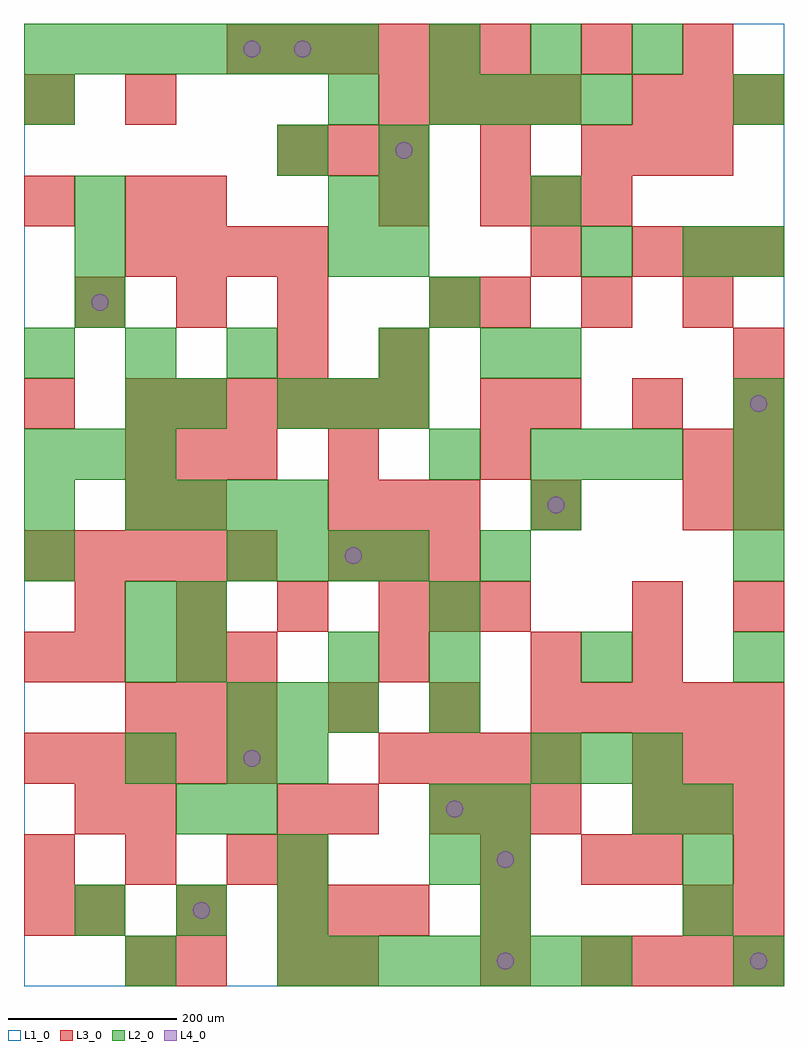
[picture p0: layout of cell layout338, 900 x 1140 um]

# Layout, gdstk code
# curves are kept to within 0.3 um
import gdstk
lib = gdstk.Library(unit=1e-6, precision=1e-09)
def R(c, l, rs):  # rectangles x0, y0, x1, y1
    for r in rs: c.add(gdstk.rectangle(r[:2], r[2:], *l))
def A(c, l, x, y, w, h, nx, ny, dx, dy):  # array of equal rectangles
    R(c, l, [(x+i*dx, y+j*dy, x+i*dx+w, y+j*dy+h) for i in range(nx) for j in range(ny)])
def P(c, l, *ps):  # polygons
    for p in ps: c.add(gdstk.Polygon(p, *l))
L1_0 = (1, 0)
L2_0 = (2, 0)
L3_0 = (3, 0)
L4_0 = (4, 0)

layout338 = lib.new_cell('layout338')
R(layout338, L1_0, [(0,0,900,1140)])
A(layout338, L2_0, 300, 0, 60, 60, 7, 1, 60, 0)
A(layout338, L2_0, 60, 60, 60, 60, 3, 1, 120, 0)
A(layout338, L2_0, 540, 60, 60, 60, 1, 3, 0, 60)
A(layout338, L2_0, 780, 60, 60, 60, 1, 3, 0, 60)
A(layout338, L2_0, 480, 180, 60, 60, 1, 3, 0, 120)
A(layout338, L2_0, 600, 240, 60, 60, 3, 2, 60, 360)
A(layout338, L2_0, 240, 300, 60, 60, 3, 1, 60, 0)
A(layout338, L2_0, 480, 360, 60, 60, 3, 1, 180, 0)
A(layout338, L2_0, 240, 480, 60, 60, 4, 1, 60, 0)
A(layout338, L2_0, 840, 480, 60, 60, 1, 4, 0, 60)
A(layout338, L2_0, 120, 540, 60, 60, 4, 1, 60, 0)
A(layout338, L2_0, 600, 540, 60, 60, 1, 3, 0, 180)
A(layout338, L2_0, 0, 600, 60, 60, 3, 1, 60, 0)
A(layout338, L2_0, 300, 660, 60, 60, 3, 1, 60, 0)
A(layout338, L2_0, 0, 720, 60, 60, 3, 1, 120, 0)
A(layout338, L2_0, 60, 780, 60, 60, 1, 3, 0, 60)
A(layout338, L2_0, 420, 840, 60, 60, 1, 3, 0, 60)
A(layout338, L2_0, 480, 1020, 60, 60, 4, 1, 60, 0)
A(layout338, L2_0, 0, 1080, 60, 60, 7, 1, 60, 0)
A(layout338, L2_0, 480, 1080, 60, 60, 3, 1, 120, 0)
R(layout338, L2_0, [(120,0,180,60), (840,0,900,60), (300,120,360,180), (480,120,540,180), (180,180,240,240), (240,180,300,240), (720,180,780,240), (120,240,180,300), (240,240,300,300), (300,240,360,300), (120,360,180,420), (180,360,240,420), (360,360,420,420), (120,420,180,480), (180,420,240,480), (0,480,60,540), (540,480,600,540), (0,540,60,600), (480,600,540,660), (120,660,180,720), (180,660,240,720), (420,720,480,780), (540,720,600,780), (480,780,540,840), (360,840,420,900), (660,840,720,900), (780,840,840,900), (840,840,900,900), (360,900,420,960), (300,960,360,1020), (0,1020,60,1080), (360,1020,420,1080), (840,1020,900,1080)])
A(layout338, L3_0, 540, 0, 60, 60, 1, 3, 0, 60)
A(layout338, L3_0, 660, 0, 60, 60, 4, 2, 60, 300)
A(layout338, L3_0, 0, 60, 60, 60, 1, 3, 0, 300)
A(layout338, L3_0, 60, 60, 60, 60, 3, 2, 120, 720)
A(layout338, L3_0, 0, 120, 60, 60, 3, 1, 120, 0)
A(layout338, L3_0, 120, 180, 60, 60, 1, 3, 0, 360)
A(layout338, L3_0, 480, 180, 60, 60, 3, 1, 60, 0)
A(layout338, L3_0, 720, 180, 60, 60, 3, 2, 60, 60)
A(layout338, L3_0, 0, 240, 60, 60, 5, 2, 60, 240)
A(layout338, L3_0, 420, 240, 60, 60, 4, 2, 60, 780)
A(layout338, L3_0, 120, 300, 60, 60, 3, 2, 60, 300)
A(layout338, L3_0, 360, 300, 60, 60, 3, 1, 120, 0)
A(layout338, L3_0, 240, 360, 60, 60, 3, 1, 180, 0)
A(layout338, L3_0, 60, 420, 60, 60, 4, 1, 120, 0)
A(layout338, L3_0, 360, 480, 60, 60, 3, 2, 60, 60)
A(layout338, L3_0, 120, 660, 60, 60, 6, 1, 60, 0)
A(layout338, L3_0, 600, 660, 60, 60, 3, 1, 120, 0)
A(layout338, L3_0, 540, 780, 60, 60, 3, 1, 120, 0)
A(layout338, L3_0, 120, 840, 60, 60, 4, 1, 60, 0)
A(layout338, L3_0, 720, 840, 60, 60, 3, 2, 60, 180)
A(layout338, L3_0, 540, 900, 60, 60, 3, 1, 60, 0)
A(layout338, L3_0, 300, 960, 60, 60, 3, 1, 60, 0)
A(layout338, L3_0, 660, 960, 60, 60, 3, 1, 60, 0)
A(layout338, L3_0, 240, 1080, 60, 60, 6, 1, 60, 0)
R(layout338, L3_0, [(120,0,180,60), (180,0,240,60), (300,0,360,60), (360,0,420,60), (360,60,420,120), (420,60,480,120), (780,60,840,120), (840,60,900,120), (300,120,360,180), (660,120,720,180), (720,120,780,180), (840,120,900,180), (60,180,120,240), (300,180,360,240), (360,180,420,240), (60,360,120,420), (180,360,240,420), (720,360,780,420), (480,420,540,480), (540,420,600,480), (720,420,780,480), (840,420,900,480), (180,540,240,600), (600,540,660,600), (780,540,840,600), (840,540,900,600), (360,600,420,660), (540,600,600,660), (780,600,840,660), (840,600,900,660), (540,660,600,720), (300,720,360,780), (420,720,480,780), (840,720,900,780), (480,780,540,840), (600,840,660,900), (0,900,60,960), (180,900,240,960), (420,900,480,960), (540,960,600,1020), (0,1020,60,1080), (120,1020,180,1080), (660,1080,720,1140), (780,1080,840,1140)])
P(layout338, L4_0, [(100,810),(99.239,813.827),(97.071,817.071),(93.827,819.239),(90,820),(86.173,819.239),(82.929,817.071),(80.761,813.827),(80,810),(80.761,806.173),(82.929,802.929),(86.173,800.761),(90,800),(93.827,800.761),(97.071,802.929),(99.239,806.173)],
  [(220,90),(219.239,93.827),(217.071,97.071),(213.827,99.239),(210,100),(206.173,99.239),(202.929,97.071),(200.761,93.827),(200,90),(200.761,86.173),(202.929,82.929),(206.173,80.761),(210,80),(213.827,80.761),(217.071,82.929),(219.239,86.173)],
  [(280,270),(279.239,273.827),(277.071,277.071),(273.827,279.239),(270,280),(266.173,279.239),(262.929,277.071),(260.761,273.827),(260,270),(260.761,266.173),(262.929,262.929),(266.173,260.761),(270,260),(273.827,260.761),(277.071,262.929),(279.239,266.173)],
  [(280,1110),(279.239,1113.827),(277.071,1117.071),(273.827,1119.239),(270,1120),(266.173,1119.239),(262.929,1117.071),(260.761,1113.827),(260,1110),(260.761,1106.173),(262.929,1102.929),(266.173,1100.761),(270,1100),(273.827,1100.761),(277.071,1102.929),(279.239,1106.173)],
  [(340,1110),(339.239,1113.827),(337.071,1117.071),(333.827,1119.239),(330,1120),(326.173,1119.239),(322.929,1117.071),(320.761,1113.827),(320,1110),(320.761,1106.173),(322.929,1102.929),(326.173,1100.761),(330,1100),(333.827,1100.761),(337.071,1102.929),(339.239,1106.173)],
  [(400,510),(399.239,513.827),(397.071,517.071),(393.827,519.239),(390,520),(386.173,519.239),(382.929,517.071),(380.761,513.827),(380,510),(380.761,506.173),(382.929,502.929),(386.173,500.761),(390,500),(393.827,500.761),(397.071,502.929),(399.239,506.173)],
  [(460,990),(459.239,993.827),(457.071,997.071),(453.827,999.239),(450,1000),(446.173,999.239),(442.929,997.071),(440.761,993.827),(440,990),(440.761,986.173),(442.929,982.929),(446.173,980.761),(450,980),(453.827,980.761),(457.071,982.929),(459.239,986.173)],
  [(520,210),(519.239,213.827),(517.071,217.071),(513.827,219.239),(510,220),(506.173,219.239),(502.929,217.071),(500.761,213.827),(500,210),(500.761,206.173),(502.929,202.929),(506.173,200.761),(510,200),(513.827,200.761),(517.071,202.929),(519.239,206.173)],
  [(580,30),(579.239,33.827),(577.071,37.071),(573.827,39.239),(570,40),(566.173,39.239),(562.929,37.071),(560.761,33.827),(560,30),(560.761,26.173),(562.929,22.929),(566.173,20.761),(570,20),(573.827,20.761),(577.071,22.929),(579.239,26.173)],
  [(580,150),(579.239,153.827),(577.071,157.071),(573.827,159.239),(570,160),(566.173,159.239),(562.929,157.071),(560.761,153.827),(560,150),(560.761,146.173),(562.929,142.929),(566.173,140.761),(570,140),(573.827,140.761),(577.071,142.929),(579.239,146.173)],
  [(640,570),(639.239,573.827),(637.071,577.071),(633.827,579.239),(630,580),(626.173,579.239),(622.929,577.071),(620.761,573.827),(620,570),(620.761,566.173),(622.929,562.929),(626.173,560.761),(630,560),(633.827,560.761),(637.071,562.929),(639.239,566.173)],
  [(880,30),(879.239,33.827),(877.071,37.071),(873.827,39.239),(870,40),(866.173,39.239),(862.929,37.071),(860.761,33.827),(860,30),(860.761,26.173),(862.929,22.929),(866.173,20.761),(870,20),(873.827,20.761),(877.071,22.929),(879.239,26.173)],
  [(880,690),(879.239,693.827),(877.071,697.071),(873.827,699.239),(870,700),(866.173,699.239),(862.929,697.071),(860.761,693.827),(860,690),(860.761,686.173),(862.929,682.929),(866.173,680.761),(870,680),(873.827,680.761),(877.071,682.929),(879.239,686.173)])

lib.write_gds('layout338.gds')
